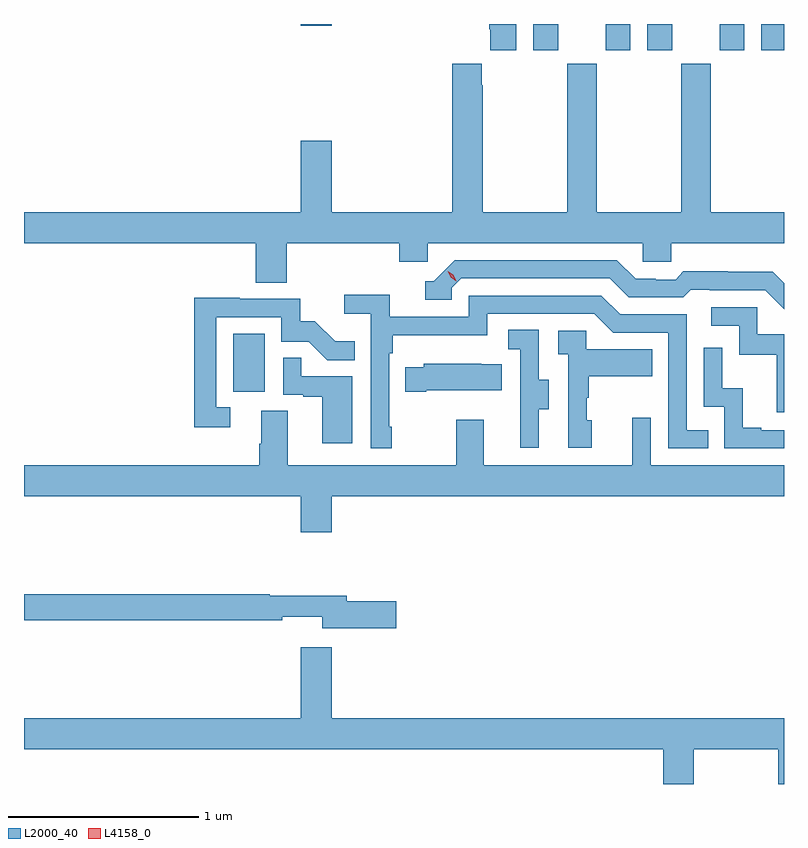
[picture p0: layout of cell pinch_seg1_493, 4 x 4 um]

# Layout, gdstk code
import gdstk
lib = gdstk.Library(unit=1e-6, precision=1e-09)
def R(c, l, rs):  # rectangles x0, y0, x1, y1
    for r in rs: c.add(gdstk.rectangle(r[:2], r[2:], *l))
def P(c, l, *ps):  # polygons
    for p in ps: c.add(gdstk.Polygon(p, *l))
L2000_40 = (2000, 40)
L4158_0 = (4158, 0)

pinch_seg1_493 = lib.new_cell('pinch_seg1_493')
R(pinch_seg1_493, L2000_40, [(1141.676,526.974,1141.84,527.281), (1143.254,528.771,1143.385,528.91), (1143.635,528.771,1143.766,528.91), (1143.854,528.771,1143.985,528.91), (1144.235,528.771,1144.366,528.91), (1144.454,528.771,1144.574,528.91), (1142.03,528.9,1142.194,528.91)])
P(pinch_seg1_493, L2000_40, [(1143.166,528.91),(1143.023,528.91),(1143.023,528.883),(1143.029,528.883),(1143.029,528.771),(1143.166,528.771)],
  [(1141.958,527.756),(1142.549,527.756),(1142.549,527.658),(1142.7,527.658),(1142.7,527.756),(1143.831,527.756),(1143.831,527.658),(1143.981,527.658),(1143.981,527.756),(1144.574,527.756),(1144.574,527.92),(1144.188,527.92),(1144.188,528.7),(1144.033,528.7),(1144.033,527.92),(1143.588,527.92),(1143.588,528.7),(1143.433,528.7),(1143.433,527.92),(1142.988,527.92),(1142.988,528.587),(1142.983,528.587),(1142.983,528.7),(1142.828,528.7),(1142.828,527.92),(1142.194,527.92),(1142.194,528.295),(1142.03,528.295),(1142.03,527.92),(1140.574,527.92),(1140.574,527.756),(1141.793,527.756),(1141.793,527.548),(1141.958,527.548)],
  [(1144.574,527.545),(1144.514,527.605),(1144.278,527.605),(1144.278,527.608),(1144.045,527.608),(1144.003,527.565),(1143.9,527.565),(1143.9,527.568),(1143.793,527.568),(1143.694,527.667),(1142.841,527.667),(1142.73,527.556),(1142.687,527.556),(1142.687,527.46),(1142.826,527.46),(1142.826,527.523),(1142.874,527.571),(1143.657,527.571),(1143.756,527.472),(1144.045,527.472),(1144.084,527.511),(1144.183,527.511),(1144.183,527.508),(1144.476,527.508),(1144.574,527.41)],
  [(1142.509,526.789),(1142.496,526.789),(1142.496,527.177),(1142.516,527.177),(1142.516,527.273),(1143.012,527.273),(1143.012,527.385),(1143.576,527.385),(1143.675,527.286),(1143.966,527.286),(1143.966,526.677),(1144.175,526.677),(1144.175,526.773),(1144.062,526.773),(1144.062,527.382),(1143.712,527.382),(1143.613,527.481),(1142.916,527.481),(1142.916,527.37),(1142.498,527.37),(1142.498,527.486),(1142.259,527.486),(1142.259,527.384),(1142.4,527.384),(1142.4,526.677),(1142.509,526.677)],
  [(1141.66,526.893),(1141.587,526.893),(1141.587,527.367),(1141.929,527.367),(1141.929,527.238),(1142.073,527.238),(1142.171,527.14),(1142.315,527.14),(1142.315,527.239),(1142.211,527.239),(1142.104,527.346),(1142.028,527.346),(1142.028,527.463),(1141.709,527.463),(1141.709,527.468),(1141.471,527.468),(1141.471,526.788),(1141.66,526.788)],
  [(1144.574,527.277),(1144.434,527.277),(1144.434,527.418),(1144.191,527.418),(1144.191,527.322),(1144.338,527.322),(1144.338,527.169),(1144.537,527.169),(1144.537,526.866),(1144.574,526.866)],
  [(1143.283,526.882),(1143.337,526.882),(1143.337,527.037),(1143.282,527.037),(1143.282,527.3),(1143.123,527.3),(1143.123,527.197),(1143.186,527.197),(1143.186,526.893),(1143.185,526.893),(1143.185,526.68),(1143.283,526.68)],
  [(1143.562,526.824),(1143.537,526.824),(1143.537,526.943),(1143.547,526.943),(1143.547,527.057),(1143.881,527.057),(1143.881,527.197),(1143.534,527.197),(1143.534,527.295),(1143.387,527.295),(1143.387,527.171),(1143.438,527.171),(1143.438,526.68),(1143.562,526.68)],
  [(1144.574,526.773),(1144.453,526.773),(1144.453,526.786),(1144.358,526.786),(1144.358,526.994),(1144.248,526.994),(1144.248,527.206),(1144.152,527.206),(1144.152,526.896),(1144.26,526.896),(1144.26,526.677),(1144.574,526.677)],
  [(1142.302,527.055),(1142.033,527.055),(1142.033,527.153),(1141.938,527.153),(1141.938,526.959),(1142.045,526.959),(1142.045,526.947),(1142.144,526.947),(1142.144,526.704),(1142.302,526.704)],
  [(1142.692,526.982),(1143.089,526.982),(1143.089,527.119),(1142.981,527.119),(1142.981,527.122),(1142.679,527.122),(1142.679,527.104),(1142.581,527.104),(1142.581,526.975),(1142.692,526.975)],
  [(1142.194,526.424),(1144.574,526.424),(1144.574,526.588),(1143.873,526.588),(1143.873,526.837),(1143.776,526.837),(1143.776,526.588),(1142.995,526.588),(1142.995,526.828),(1142.848,526.828),(1142.848,526.588),(1141.963,526.588),(1141.963,526.874),(1141.823,526.874),(1141.823,526.7),(1141.811,526.7),(1141.811,526.588),(1140.574,526.588),(1140.574,526.424),(1142.03,526.424),(1142.03,526.236),(1142.194,526.236)],
  [(1142.533,525.872),(1142.272,525.872),(1142.272,525.901),(1141.868,525.901),(1141.868,525.908),(1140.574,525.908),(1140.574,525.772),(1141.934,525.772),(1141.934,525.791),(1142.144,525.791),(1142.144,525.73),(1142.533,525.73)],
  [(1144.098,525.092),(1144.543,525.092),(1144.543,524.91),(1144.574,524.91),(1144.574,525.256),(1142.194,525.256),(1142.194,525.631),(1142.03,525.631),(1142.03,525.256),(1140.574,525.256),(1140.574,525.092),(1143.938,525.092),(1143.938,524.91),(1144.098,524.91)])
P(pinch_seg1_493, L4158_0, [(1142.85,527.557),(1142.82,527.577),(1142.804,527.61),(1142.804,527.61),(1142.804,527.61),(1142.834,527.59),(1142.85,527.558),(1142.85,527.557)])

lib.write_gds('pinch_seg1_493.gds')
